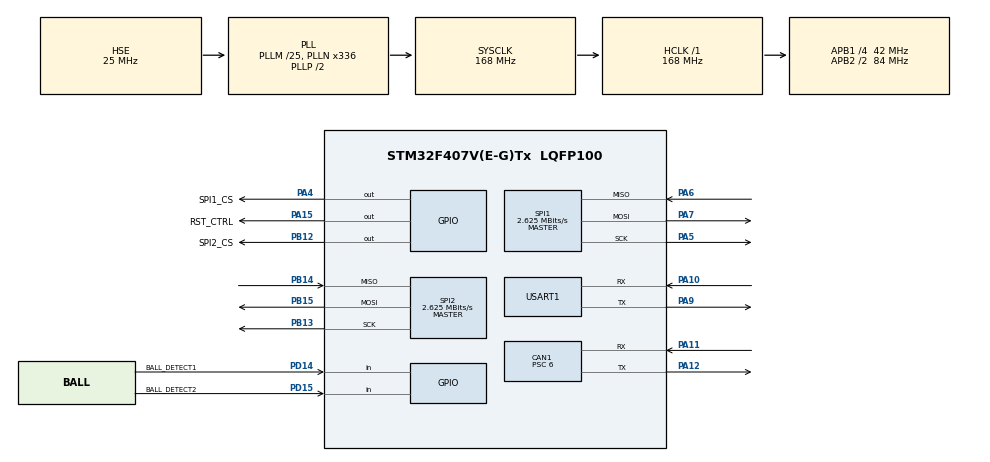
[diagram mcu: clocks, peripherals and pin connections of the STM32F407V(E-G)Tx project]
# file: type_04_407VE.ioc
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CAN1.BS1=CAN_BS1_11TQ
CAN1.BS2=CAN_BS2_2TQ
CAN1.CalculateBaudRate=500000
CAN1.CalculateTimeBit=2000
CAN1.CalculateTimeQuantum=142.85714285714286
CAN1.Prescaler=6
Dma.Request0=USART1_RX
Dma.Request1=USART1_TX
Dma.USART1_RX.0.Direction=DMA_PERIPH_TO_MEMORY
Dma.USART1_RX.0.FIFOMode=DMA_FIFOMODE_DISABLE
Dma.USART1_RX.0.Instance=DMA2_Stream2
Dma.USART1_RX.0.MemDataAlignment=DMA_MDATAALIGN_BYTE
Dma.USART1_RX.0.MemInc=DMA_MINC_ENABLE
Dma.USART1_RX.0.Mode=DMA_NORMAL
Dma.USART1_RX.0.PeriphDataAlignment=DMA_PDATAALIGN_BYTE
Dma.USART1_RX.0.PeriphInc=DMA_PINC_DISABLE
Dma.USART1_RX.0.Priority=DMA_PRIORITY_VERY_HIGH
Dma.USART1_TX.1.Direction=DMA_MEMORY_TO_PERIPH
Dma.USART1_TX.1.FIFOMode=DMA_FIFOMODE_DISABLE
Dma.USART1_TX.1.Instance=DMA2_Stream7
Dma.USART1_TX.1.MemDataAlignment=DMA_MDATAALIGN_BYTE
Dma.USART1_TX.1.MemInc=DMA_MINC_ENABLE
Dma.USART1_TX.1.Mode=DMA_NORMAL
Dma.USART1_TX.1.PeriphDataAlignment=DMA_PDATAALIGN_BYTE
Dma.USART1_TX.1.PeriphInc=DMA_PINC_DISABLE
Dma.USART1_TX.1.Priority=DMA_PRIORITY_MEDIUM
Mcu.Family=STM32F4
Mcu.Name=STM32F407V(E-G)Tx
Mcu.Package=LQFP100
NVIC.CAN1_RX0_IRQn=true\:1\:0\:true\:false\:true\:true\:true\:true
NVIC.CAN1_TX_IRQn=true\:1\:0\:true\:false\:true\:true\:true\:true
NVIC.DMA2_Stream2_IRQn=true\:0\:0\:false\:false\:true\:false\:true\:true
NVIC.DMA2_Stream7_IRQn=true\:0\:0\:false\:false\:true\:false\:true\:true
NVIC.PriorityGroup=NVIC_PRIORITYGROUP_4
NVIC.TIM1_TRG_COM_TIM11_IRQn=true\:3\:0\:true\:false\:true\:true\:true\:true
NVIC.TIM8_TRG_COM_TIM14_IRQn=true\:3\:0\:true\:false\:true\:true\:true\:true
NVIC.TIM8_UP_TIM13_IRQn=true\:3\:0\:true\:false\:true\:true\:true\:true
NVIC.USART1_IRQn=true\:0\:0\:false\:false\:true\:true\:true\:true
PA10.Mode=Asynchronous
PA10.Signal=USART1_RX
PA11.Mode=CAN_Activate
PA11.Signal=CAN1_RX
PA12.Mode=CAN_Activate
PA12.Signal=CAN1_TX
PA13.Mode=Serial_Wire
PA13.Signal=SYS_JTMS-SWDIO
PA14.Mode=Serial_Wire
PA14.Signal=SYS_JTCK-SWCLK
PA15.GPIO_Label=RST_CTRL
PA15.GPIO_PuPd=GPIO_PULLDOWN
PA15.Signal=GPIO_Output
PA4.GPIO_Label=SPI1_CS
PA4.Signal=GPIO_Output
PA5.Mode=Full_Duplex_Master
PA5.Signal=SPI1_SCK
PA6.Mode=Full_Duplex_Master
PA6.Signal=SPI1_MISO
PA7.Mode=Full_Duplex_Master
PA7.Signal=SPI1_MOSI
PA9.Mode=Asynchronous
PA9.Signal=USART1_TX
PB12.GPIO_Label=SPI2_CS
PB12.Signal=GPIO_Output
PB13.Mode=Full_Duplex_Master
PB13.Signal=SPI2_SCK
PB14.Mode=Full_Duplex_Master
PB14.Signal=SPI2_MISO
PB15.Mode=Full_Duplex_Master
PB15.Signal=SPI2_MOSI
PD14.GPIO_Label=BALL_DETECT1
PD14.GPIO_PuPd=GPIO_PULLDOWN
PD14.Signal=GPIO_Input
PD15.GPIO_Label=BALL_DETECT2
PD15.GPIO_PuPd=GPIO_PULLDOWN
PD15.Signal=GPIO_Input
PH0-OSC_IN.Mode=HSE-External-Oscillator
PH0-OSC_IN.Signal=RCC_OSC_IN
PH1-OSC_OUT.Mode=HSE-External-Oscillator
PH1-OSC_OUT.Signal=RCC_OSC_OUT
ProjectManager.HeapSize=0x200
ProjectManager.StackSize=0x400
ProjectManager.TargetToolchain=MDK-ARM V5.32
RCC.48MHZClocksFreq_Value=84000000
RCC.AHBFreq_Value=168000000
RCC.APB1CLKDivider=RCC_HCLK_DIV4
RCC.APB1Freq_Value=42000000
RCC.APB1TimFreq_Value=84000000
RCC.APB2CLKDivider=RCC_HCLK_DIV2
RCC.APB2Freq_Value=84000000
RCC.APB2TimFreq_Value=168000000
RCC.CortexFreq_Value=168000000
RCC.HCLKFreq_Value=168000000
RCC.HSE_VALUE=25000000
RCC.HSI_VALUE=16000000
RCC.LSE_VALUE=32768
RCC.PLLM=25
RCC.PLLN=336
RCC.PLLSourceVirtual=RCC_PLLSOURCE_HSE
RCC.SYSCLKFreq_VALUE=168000000
RCC.SYSCLKSource=RCC_SYSCLKSOURCE_PLLCLK
RCC.VCOOutputFreq_Value=336000000
SPI1.BaudRatePrescaler=SPI_BAUDRATEPRESCALER_32
SPI1.CLKPhase=SPI_PHASE_2EDGE
SPI1.CalculateBaudRate=2.625 MBits/s
SPI1.DataSize=SPI_DATASIZE_16BIT
SPI1.Direction=SPI_DIRECTION_2LINES
SPI1.Mode=SPI_MODE_MASTER
SPI1.VirtualType=VM_MASTER
SPI2.BaudRatePrescaler=SPI_BAUDRATEPRESCALER_16
SPI2.CLKPhase=SPI_PHASE_2EDGE
SPI2.CalculateBaudRate=2.625 MBits/s
SPI2.DataSize=SPI_DATASIZE_16BIT
SPI2.Direction=SPI_DIRECTION_2LINES
SPI2.Mode=SPI_MODE_MASTER
SPI2.VirtualType=VM_MASTER
STMicroelectronics.X-CUBE-ALGOBUILD.1.3.0.LibraryCcDSPOoLibraryJjDSPOoLibrary=true
TIM11.Period=100-1
TIM11.Prescaler=84-1
TIM13.Period=5000-1
TIM13.Prescaler=168-1
TIM14.Period=10000-1
TIM14.Prescaler=84-1
USART1.Parity=PARITY_NONE
USART1.VirtualMode=VM_ASYNC
USART1.WordLength=WORDLENGTH_8B
VP_STMicroelectronics.X-CUBE-ALGOBUILD_VS_DSPOoLibraryJjLibrary_1.3.0_1.3.0.Mode=DSPOoLibraryJjLibrary
VP_TIM11_VS_ClockSourceINT.Mode=Enable_Timer
VP_TIM13_VS_ClockSourceINT.Mode=Enable_Timer
VP_TIM14_VS_ClockSourceINT.Mode=Enable_Timer
board=custom

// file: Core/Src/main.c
/* USER CODE BEGIN Header */
/**
  ******************************************************************************
  * @file           : main.c
  * @brief          : Main program body
  ******************************************************************************
  * @attention
  *
  * Copyright (c) 2023 STMicroelectronics.
  * All rights reserved.
  *
  * This software is licensed under terms that can be found in the LICENSE file
  * in the root directory of this software component.
  * If no LICENSE file comes with this software, it is provided AS-IS.
  *
  ******************************************************************************
  */
/* USER CODE END Header */

#include "main.h"
#include "gpio.h"
#include "dma.h"
#include "can.h"
#include "spi.h"
#include "tim.h"
#include "usart.h"

/* USER CODE BEGIN Includes */
#include "YIS130.h"
#include "arm_math.h"
#include "stdio.h"
#include "AS5048.h"
#include "odom_protocol.h"
#include <math.h>
#include <string.h>

extern CAN_HandleTypeDef hcan1;
extern SPI_HandleTypeDef hspi1;
extern SPI_HandleTypeDef hspi2;
extern TIM_HandleTypeDef htim11;
extern TIM_HandleTypeDef htim13;
extern TIM_HandleTypeDef htim14;
extern UART_HandleTypeDef huart1;

void MX_GPIO_Init(void);
void MX_DMA_Init(void);
void MX_CAN1_Init(void);
void MX_TIM11_Init(void);
void MX_TIM13_Init(void);
void MX_TIM14_Init(void);
void MX_USART1_UART_Init(void);
void MX_SPI1_Init(void);
void MX_SPI2_Init(void);

/* USER CODE END Includes */

/* USER CODE BEGIN PTD */
#define USART_CR3_RXFTIE ((uint32_t)0x00008000)

/* USER CODE END PTD */

/* USER CODE BEGIN PD */

uint8_t receive_buff[8] = {0}; // init
int receivefactor[2];
// header x_low x_high y y yaw yaw footer
uint8_t tx_buff[255];

extern MPU_DATA mpu_data[4];
extern AS5048 AS5048s[AS5048_NUMBER];
float i = 0;
extern float ACCX,ACCY,ACCZ;
//float tt_x = 0;
//float tt_y = 0;
//float tt_x_real = 0;
//float tt_y_real = 0;

int add = 0;
int times = 0;

int fputc(int ch, FILE *f){
        //HAL_UART_Transmit_DMA(&huart1, (uint8_t *)&ch, 1);
  HAL_UART_Transmit(&huart1, (uint8_t *)&ch, 1, 0xffff);
  return ch;
}

typedef struct struct_message
{
  uint8_t header;
  uint8_t parity;
  uint8_t data[6];
  uint8_t footer;
} DataPacket;

DataPacket DataRe;
uint8_t USART_FLAG = 0;

uint8_t USART1_RX_BUF[100];
uint16_t USART1_RX_STA = 0;
uint8_t aRxBuffer1[1];
UART_HandleTypeDef UART1_Handler;
/* USER CODE END PD */

/* USER CODE BEGIN PV */
/* RX 缓冲扩大到 64 字节以兼容旧 8 字节协议 + 新 0xAA 0x55 上行帧 (最长 25 字节) */
#define RCV_BUF_SIZE 64
uint8_t rcv_buf[RCV_BUF_SIZE] = {0};
volatile uint16_t rcv_len = 0;   /* 实际收到字节数, 由 idle 中断记录 */
int rcv_err = 3;
char mpu_buff[220];
uint16_t rxclear = 0;
volatile uint8_t rcv_flag = 0;
int rst_temp = 0;

/* ODOM protocol variables */
static uint8_t odom_seq = 0;
static uint8_t odom_frame_buf[2][ODOM_STATE_FRAME_LEN];
static uint8_t odom_frame_buf_index = 0;
static uint32_t odom_tx_drop_count = 0;
/* 上行响应使用独立缓冲, 避免与下行 ODOM_STATE 共用 */
static uint8_t odom_resp_buf[ODOM_TIME_SYNC_RESP_FRAME_LEN];
/* 累计成功归零次数 (event_counter) */
static uint32_t origin_event_counter = 0;
static float odom_dx_world_acc = 0.0f;
static float odom_dy_world_acc = 0.0f;
static float odom_dyaw_acc = 0.0f;
static float odom_local_yaw_offset_rad = 0.0f;
static uint16_t odom_vel_ticks = 0;
static volatile uint8_t encoder_sample_pending = 0;
static volatile uint8_t encoder_delta_ready = 0;
static uint16_t encoder_sample_divider = 0;
static float encoder_odom_last_yaw_rad = 0.0f;
static uint8_t encoder_odom_yaw_initialized = 0;
static volatile int encoder_delta_x_counts = 0;
static volatile int encoder_delta_y_counts = 0;
static volatile uint8_t encoder_delta_valid_mask = 0U;
static volatile uint8_t encoder_latest_valid_mask = 0U;

/* ODOM output rate: ticks between frames (ISR=20kHz, 100 ticks=5ms=200Hz) */
#define ODOM_OUTPUT_TICKS 100
/* Encoder SPI sampling rate: 20kHz / 20 = 1kHz */
#define ODOM_ENCODER_SAMPLE_TICKS 20U
/* ISR period in microseconds */
#define ODOM_ISR_PERIOD_US 50
#define ODOM_PI_F 3.1415926f
#define DEG_TO_RAD_F (3.1415926f / 180.0f)
#define ODOM_RESP_TX_NONE 0U
#define ODOM_RESP_TX_WAITING 1U
#define ODOM_RESP_TX_SENDING 2U
#define ODOM_ENCODER_X_VALID_MASK 0x01U
#define ODOM_ENCODER_Y_VALID_MASK 0x02U
#define ODOM_ENCODER_VALID_ALL (ODOM_ENCODER_X_VALID_MASK | ODOM_ENCODER_Y_VALID_MASK)

typedef struct {
        int x_counts;
        int y_counts;
        uint8_t valid_mask;
} EncoderDeltaSample_t;

static volatile uint8_t odom_resp_tx_state = ODOM_RESP_TX_NONE;

/* USER CODE END PV */

void SystemClock_Config(void);
/* USER CODE BEGIN PFP */
static void service_encoder_sampling(void);

/* USER CODE END PFP */

int main(void)
{

  /* MCU Configuration--------------------------------------------------------*/

  /* Reset of all peripherals, Initializes the Flash interface and the Systick. */
  HAL_Init();

  /* Configure the system clock */
  SystemClock_Config();

  /* Initialize all configured peripherals */
  MX_GPIO_Init();
  MX_DMA_Init();
  MX_CAN1_Init();
  MX_TIM11_Init();
  MX_TIM13_Init();
  MX_TIM14_Init();
  MX_USART1_UART_Init();
  MX_SPI1_Init();
  MX_SPI2_Init();
  /* USER CODE BEGIN 2 */

        __HAL_UART_ENABLE_IT(&huart1, UART_IT_IDLE);
        HAL_UART_Receive_DMA(&huart1, rcv_buf, RCV_BUF_SIZE);

        AS5048_init(1,&hspi1,GPIOA,GPIO_PIN_4);
        AS5048_init(2,&hspi2,GPIOB,GPIO_PIN_12);

        mpu_data[0].cali = 1;
        mpu_data[0].vel[0] = 0;
        mpu_data[0].vel[1] = 0;
        mpu_data[0].REAL_YAW_SET = 0;
        mpu_data[0].REAL_YAW_MARK = 0;

        can_filter_init();

        HAL_TIM_Base_Start_IT(&htim13);
        HAL_TIM_Base_Start_IT(&htim14);
        HAL_TIM_Base_Start_IT(&htim11);

//      SelfCalibration();

//      HAL_Delay(100);

//  mpu_data[0].PITCH_ANGLE_BEG = mpu_data[0].PITCH_ANGLE;
//  mpu_data[0].YAW_ANGLE_BEG =   mpu_data[0].YAW_ANGLE;
//  mpu_data[0].ROLL_ANGLE_BEG =  mpu_data[0].ROLL_ANGLE;
//
  /* USER CODE END 2 */

  /* Infinite loop */
        while (1)
  {

    /* USER CODE BEGIN 3 */
                service_encoder_sampling();
                if(rcv_flag != 0U){
                        Rcv_DealData();
                }

  }
  /* USER CODE END 3 */
}

void SystemClock_Config(void)
{
  RCC_OscInitTypeDef RCC_OscInitStruct = {0};
  RCC_ClkInitTypeDef RCC_ClkInitStruct = {0};

  /** Configure the main internal regulator output voltage
  */
  __HAL_RCC_PWR_CLK_ENABLE();
  __HAL_PWR_VOLTAGESCALING_CONFIG(PWR_REGULATOR_VOLTAGE_SCALE1);

  /** Initializes the RCC Oscillators according to the specified parameters
  * in the RCC_OscInitTypeDef structure.
  */
  RCC_OscInitStruct.OscillatorType = RCC_OSCILLATORTYPE_HSE;
  RCC_OscInitStruct.HSEState = RCC_HSE_ON;
  RCC_OscInitStruct.PLL.PLLState = RCC_PLL_ON;
  RCC_OscInitStruct.PLL.PLLSource = RCC_PLLSOURCE_HSE;
  RCC_OscInitStruct.PLL.PLLM = 25;
  RCC_OscInitStruct.PLL.PLLN = 336;
  RCC_OscInitStruct.PLL.PLLP = RCC_PLLP_DIV2;
  RCC_OscInitStruct.PLL.PLLQ = 4;
  if (HAL_RCC_OscConfig(&RCC_OscInitStruct) != HAL_OK)
  {
    Error_Handler();
  }

  /** Initializes the CPU, AHB and APB buses clocks
  */
  RCC_ClkInitStruct.ClockType = RCC_CLOCKTYPE_HCLK|RCC_CLOCKTYPE_SYSCLK
                              |RCC_CLOCKTYPE_PCLK1|RCC_CLOCKTYPE_PCLK2;
  RCC_ClkInitStruct.SYSCLKSource = RCC_SYSCLKSOURCE_PLLCLK;
  RCC_ClkInitStruct.AHBCLKDivider = RCC_SYSCLK_DIV1;
  RCC_ClkInitStruct.APB1CLKDivider = RCC_HCLK_DIV4;
  RCC_ClkInitStruct.APB2CLKDivider = RCC_HCLK_DIV2;

  if (HAL_RCC_ClockConfig(&RCC_ClkInitStruct, FLASH_LATENCY_5) != HAL_OK)
  {
    Error_Handler();
  }
}

/* USER CODE BEGIN 4 */

//DMA+空闲中断接收
void Rcv_IdleCallback(void){
        /* 判断是否为空闲中断 */
        if(__HAL_UART_GET_FLAG(&huart1, UART_FLAG_IDLE) == SET){
                /* 清除空闲中断标志并停止 DMA */
                __HAL_UART_CLEAR_IDLEFLAG(&huart1);
                HAL_UART_DMAStop(&huart1);
                /* 计算实际接收字节数 = 缓冲总长 - 剩余 NDTR */
                uint16_t remaining = (uint16_t)__HAL_DMA_GET_COUNTER(huart1.hdmarx);
                rcv_len = (remaining > RCV_BUF_SIZE) ? 0 : (uint16_t)(RCV_BUF_SIZE - remaining);
                /* 标记收到一帧 */
                rcv_flag = 1;
        }
}

/* 等待上一次串口 TX (DMA 或阻塞) 完成, 然后用 DMA 发送响应帧。*/
static void send_upstream_response(const uint8_t *buf, uint16_t len)
{
        uint32_t start_ms = HAL_GetTick();

        odom_resp_tx_state = ODOM_RESP_TX_WAITING;
        while(huart1.gState != HAL_UART_STATE_READY){
                if((uint32_t)(HAL_GetTick() - start_ms) > 10U){
                        odom_resp_tx_state = ODOM_RESP_TX_NONE;
                        odom_tx_drop_count++;
                        return;
                }
        }
        if(HAL_UART_Transmit_DMA(&huart1, (uint8_t *)buf, len) == HAL_OK){
                odom_resp_tx_state = ODOM_RESP_TX_SENDING;
        }else{
                odom_resp_tx_state = ODOM_RESP_TX_NONE;
                odom_tx_drop_count++;
        }
}

static void send_odom_state_payload(const OdomStatePayload_t *payload)
{
        uint8_t *frame_buf;
        uint16_t frame_len;

        if(odom_resp_tx_state != ODOM_RESP_TX_NONE){
                odom_tx_drop_count++;
                return;
        }

        if(huart1.gState != HAL_UART_STATE_READY){
                odom_tx_drop_count++;
                return;
        }

        frame_buf = odom_frame_buf[odom_frame_buf_index];
        frame_len = odom_pack_state(frame_buf, odom_seq, payload);
        if(HAL_UART_Transmit_DMA(&huart1, frame_buf, frame_len) == HAL_OK){
                odom_seq++;
                odom_frame_buf_index ^= 1U;
        }else{
                odom_tx_drop_count++;
        }
}

static void request_encoder_sample_from_isr(void)
{
        encoder_sample_divider++;
        if(encoder_sample_divider >= ODOM_ENCODER_SAMPLE_TICKS){
                encoder_sample_divider = 0;
                if(encoder_sample_pending < 0xFFU){
                        encoder_sample_pending++;
                }
        }
}

static uint8_t take_encoder_sample_request(void)
{
        uint8_t do_sample = 0U;

        __disable_irq();
        if(encoder_sample_pending != 0U){
                encoder_sample_pending--;
                do_sample = 1U;
        }
        __enable_irq();

        return do_sample;
}

static void service_encoder_sampling(void)
{
        uint8_t valid_mask = 0U;
        uint32_t primask;

        if(encoder_delta_ready != 0U){
                return;
        }
        if(take_encoder_sample_request() == 0U){
                return;
        }

        AS5048_getREGValue(1);
        AS5048_dataUpdate(1);
        AS5048_getREGValue(2);
        AS5048_dataUpdate(2);

        if(AS5048s[ODOM_X_ENCODER_INDEX].valid != 0U){
                valid_mask |= ODOM_ENCODER_X_VALID_MASK;
        }
        if(AS5048s[ODOM_Y_ENCODER_INDEX].valid != 0U){
                valid_mask |= ODOM_ENCODER_Y_VALID_MASK;
        }

        primask = __get_PRIMASK();
        __disable_irq();
        encoder_delta_x_counts = AS5048s[ODOM_X_ENCODER_INDEX].delta_dis;
        encoder_delta_y_counts = AS5048s[ODOM_Y_ENCODER_INDEX].delta_dis;
        encoder_delta_valid_mask = valid_mask;
        encoder_latest_valid_mask = valid_mask;
        encoder_delta_ready = 1U;
        if(primask == 0U){
                __enable_irq();
        }
}

static uint8_t take_encoder_delta_ready(EncoderDeltaSample_t *sample)
{
        if(encoder_delta_ready == 0U || sample == 0){
                return 0U;
        }
        sample->x_counts = encoder_delta_x_counts;
        sample->y_counts = encoder_delta_y_counts;
        sample->valid_mask = encoder_delta_valid_mask;
        encoder_delta_ready = 0U;
        return 1U;
}

static float odom_wrap_pi(float angle)
{
        while(angle > ODOM_PI_F){
                angle -= 2.0f * ODOM_PI_F;
        }
        while(angle < -ODOM_PI_F){
                angle += 2.0f * ODOM_PI_F;
        }
        return angle;
}

static float odom_get_raw_yaw_rad(void)
{
        return mpu_data[0].YAW_ANGLE * DEG_TO_RAD_F;
}

static float odom_get_local_yaw_rad(void)
{
        return odom_wrap_pi(odom_get_raw_yaw_rad() + odom_local_yaw_offset_rad);
}

static void odom_set_local_yaw_origin(float local_yaw_rad)
{
        odom_local_yaw_offset_rad = odom_wrap_pi(local_yaw_rad - odom_get_raw_yaw_rad());
}

static void reset_encoder_odom_yaw_reference(void)
{
        encoder_odom_last_yaw_rad = odom_get_local_yaw_rad();
        encoder_odom_yaw_initialized = 1U;
}

static void integrate_orthogonal_encoder_delta(const EncoderDeltaSample_t *sample)
{
        /* Guard: Skip integration if encoders are not valid */
        if (sample->valid_mask != ODOM_ENCODER_VALID_ALL) {
                return;
        }

        float yaw_rad = odom_get_local_yaw_rad();
        float dyaw = 0.0f;
        float dx_wheel = (float)sample->x_counts
                       * ODOM_X_ENCODER_SIGN
                       * ODOM_X_WHEEL_METERS_PER_COUNT;
        float dy_wheel = (float)sample->y_counts
                       * ODOM_Y_ENCODER_SIGN
                       * ODOM_Y_WHEEL_METERS_PER_COUNT;

        if(encoder_odom_yaw_initialized == 0U){
                encoder_odom_last_yaw_rad = yaw_rad;
                encoder_odom_yaw_initialized = 1U;
        }else{
                dyaw = odom_wrap_pi(yaw_rad - encoder_odom_last_yaw_rad);
                encoder_odom_last_yaw_rad = yaw_rad;
        }

        /* Orthogonal encoder kinematic resolution (45° X-configuration)
         * Left wheel (dy_wheel/SPI2): 45° from +X axis, measures (forward + left) / √2
         * Right wheel (dx_wheel/SPI1): 135° from +X axis, measures (forward - left) / √2
         * Inverse kinematics:
         *   dx_body = (left - right) / √2 = (dy_wheel - dx_wheel) / √2
         *   dy_body = (left + right) / √2 = (dy_wheel + dx_wheel) / √2
         */
        const float INV_SQRT2 = 0.70710678118f;  // 1/sqrt(2)
        float dx_body_raw = (dy_wheel - dx_wheel) * INV_SQRT2;  // FIXED: was swapped
        float dy_body_raw = (dy_wheel + dx_wheel) * INV_SQRT2;  // FIXED: was swapped

        /* Rotation compensation for tracking wheels offset from robot center. */
        float dx_body = dx_body_raw + ODOM_X_WHEEL_Y_OFFSET_M * dyaw;
        float dy_body = dy_body_raw - ODOM_Y_WHEEL_X_OFFSET_M * dyaw;
        float cos_yaw = arm_cos_f32(yaw_rad);
        float sin_yaw = arm_sin_f32(yaw_rad);
        float dx_world = dx_body * cos_yaw - dy_body * sin_yaw;
        float dy_world = dx_body * sin_yaw + dy_body * cos_yaw;

        mpu_data[0].X_tt += dx_world;
        mpu_data[0].Y_tt += dy_world;
        mpu_data[0].REAL_X = mpu_data[0].X_tt;
        mpu_data[0].REAL_Y = mpu_data[0].Y_tt;

        odom_dx_world_acc += dx_world;
        odom_dy_world_acc += dy_world;
        odom_vel_ticks += ODOM_ENCODER_SAMPLE_TICKS;
}

static void reset_odom_runtime_accumulators(void)
{
        odom_dx_world_acc = 0.0f;
        odom_dy_world_acc = 0.0f;
        odom_dyaw_acc = 0.0f;
        odom_vel_ticks = 0;
        encoder_odom_yaw_initialized = 0U;
        mpu_data[0].vel[0] = 0.0;
        mpu_data[0].vel[1] = 0.0;
        mpu_data[0].vel[2] = 0.0;
}

static void reset_encoder_accumulators(void)
{
        int idx;
        uint32_t primask = __get_PRIMASK();

        __disable_irq();
        encoder_delta_ready = 0U;
        encoder_delta_x_counts = 0;
        encoder_delta_y_counts = 0;
        encoder_delta_valid_mask = 0U;
        encoder_latest_valid_mask = 0U;
        for(idx = 0; idx < AS5048_NUMBER; idx++){
                AS5048s[idx].total_angle = 0;
                AS5048s[idx].cirle = 0;
                AS5048s[idx].delta_dis = 0;
                AS5048s[idx].last_angle = AS5048s[idx].angle;
                AS5048s[idx].diff_hist[0] = 0;
                AS5048s[idx].diff_hist[1] = 0;
                AS5048s[idx].diff_hist[2] = 0;
                AS5048s[idx].motion_state = 0;
        }
        if(primask == 0U){
                __enable_irq();
        }
}

static uint8_t is_ball_present(void)
{
        if(HAL_GPIO_ReadPin(BALL_DETECT_GPIO_Port, BALL_DETECT1_Pin) == GPIO_PIN_SET){
                return 1U;
        }
        return (HAL_GPIO_ReadPin(BALL_DETECT_GPIO_Port, BALL_DETECT2_Pin) == GPIO_PIN_SET) ? 1U : 0U;
}

static uint64_t odom_get_isr_tick_snapshot(void)
{
        uint64_t tick;
        uint32_t primask = __get_PRIMASK();

        __disable_irq();
        tick = odom_isr_tick;
        if(primask == 0U){
                __enable_irq();
        }

        return tick;
}

void HAL_UART_TxCpltCallback(UART_HandleTypeDef *huart)
{
        if(huart == &huart1 && odom_resp_tx_state == ODOM_RESP_TX_SENDING){
                odom_resp_tx_state = ODOM_RESP_TX_NONE;
        }
}

/* 处理上位机发来的 0xAA 0x55 帧 */
static void handle_upstream_frame(const OdomUpstreamFrame_t *fr)
{
        if(fr->msg_type == ODOM_MSG_TIME_SYNC_REQ){
                if(fr->payload_len != ODOM_TIME_SYNC_REQ_PAYLOAD_LEN) return;
                /* 提取 echoed_host_time_us */
                uint64_t host_us = 0;
                for(int b = 0; b < 8; b++){
                        host_us |= ((uint64_t)fr->payload[b]) << (8 * b);
                }
                OdomTimeSyncRespPayload_t resp;
                resp.echoed_host_time_us = host_us;
                resp.mcu_time_us = odom_get_isr_tick_snapshot() * (uint64_t)ODOM_ISR_PERIOD_US;
                uint16_t flen = odom_pack_time_sync_resp(odom_resp_buf, fr->seq, &resp);
                send_upstream_response(odom_resp_buf, flen);
        } else if(fr->msg_type == ODOM_MSG_SET_LOCAL_ORIGIN){
                if(fr->payload_len != ODOM_SET_ORIGIN_PAYLOAD_LEN) return;
                /* payload: float x, y, yaw + uint8 flags + 3 reserved */
                float new_x, new_y, new_yaw;
                uint8_t flags;
                memcpy(&new_x,   &fr->payload[0],  4);
                memcpy(&new_y,   &fr->payload[4],  4);
                memcpy(&new_yaw, &fr->payload[8],  4);
                flags = fr->payload[12];
                if(flags == 0U){
                        flags = ODOM_SET_ORIGIN_FLAG_RESET_ALL; /* 兼容旧版上位机: 0 表示整包归零 */
                }

                if((flags & ODOM_SET_ORIGIN_FLAG_RESET_XY) != 0U){
                        /* 应用 XY 原点重置 */
                        mpu_data[0].X_tt = new_x;
                        mpu_data[0].Y_tt = new_y;
                        mpu_data[0].REAL_X = new_x;
                        mpu_data[0].REAL_Y = new_y;
                }

                if((flags & ODOM_SET_ORIGIN_FLAG_RESET_YAW) != 0U){
                        /* 重置连续 yaw: 让下次 unwrap 输出 = new_yaw, prev_deg 锚定到当前角度 */
                        odom_set_local_yaw_origin(new_yaw);
                        g_yaw_unwrap.continuous_rad = new_yaw;
                        g_yaw_unwrap.prev_deg       = mpu_data[0].YAW_ANGLE;
                        g_yaw_unwrap.initialized    = 1;
                }

                if((flags & ODOM_SET_ORIGIN_FLAG_RESET_ENCODER) != 0U){
                        reset_encoder_accumulators();
                }

                reset_odom_runtime_accumulators();
                origin_event_counter++;

                OdomSetLocalOriginAckPayload_t ack;
                ack.acked_seq     = (uint16_t)fr->seq;
                ack.result_code   = 0;
                ack.event_counter = origin_event_counter;
                uint16_t flen = odom_pack_set_origin_ack(odom_resp_buf, fr->seq, &ack);
                send_upstream_response(odom_resp_buf, flen);
        }
        /* 其它类型忽略 */
}

int Rcv_DealData(void){
        if(1==rcv_flag){
                uint16_t len = rcv_len;
                /* --- 1) 老协议: 8 字节固定包 --- */
                if(len >= 8 && 0x0F==rcv_buf[0] && 0xAA==rcv_buf[7]){
                        DATARELOAD(rcv_buf);
                }else if(len >= 8 && 0xBB==rcv_buf[0] && 0xCC==rcv_buf[7]){
                        HAL_GPIO_WritePin(RST_CTRL_GPIO_Port,RST_CTRL_Pin,GPIO_PIN_SET);
                        HAL_Delay(500);
                        HAL_GPIO_WritePin(RST_CTRL_GPIO_Port,RST_CTRL_Pin,GPIO_PIN_RESET);
                        DATARELOAD(rcv_buf);
                }else{
                        /* --- 2) 新协议: 0xAA 0x55 上行帧 --- */
                        OdomUpstreamFrame_t fr;
                        if(odom_parse_upstream(rcv_buf, len, &fr)){
                                handle_upstream_frame(&fr);
                        }
                }
                /* 清缓冲并重启 DMA */
                memset(rcv_buf, 0, RCV_BUF_SIZE);
                rcv_len  = 0;
                rcv_flag = 0;
                HAL_UART_Receive_DMA(&huart1, rcv_buf, RCV_BUF_SIZE);
                return 0;
        }else{
                return -1;
        }
}

void HAL_TIM_PeriodElapsedCallback(TIM_HandleTypeDef *htim)
{
    if (htim == (&htim14)){
                        //if(rcv_err>0){
      //ClearUARTErrors(USART1);//清除串口错误标志，目前不再使用
                        //}

    }

                if (htim == (&htim13)){
//                      arm_fir_f32_lp();

                 }

                 if (htim == (&htim11)){

	                         odom_isr_tick++;
	                         request_encoder_sample_from_isr();

                         if(mpu_data[0].cali == 1){
	                                        if(times >= 500){

	                                                add++;
	                                                EncoderDeltaSample_t encoder_delta = {0, 0, 0U};
	                                                uint8_t has_encoder_delta = take_encoder_delta_ready(&encoder_delta);
	                                                uint32_t imu_now_ms = HAL_GetTick();
	                                                uint8_t gyro_fresh = YIS130_IsGyroFresh(imu_now_ms);
	                                                uint8_t yaw_fresh = YIS130_IsEulerFresh(imu_now_ms);
	                                                uint8_t imu_fresh = YIS130_IsImuFresh(imu_now_ms);

	                                                mpu_data[0].REAL_YAW = mpu_data[0].YAW_ANGLE;

	            if(has_encoder_delta != 0U && yaw_fresh != 0U && encoder_delta.valid_mask == ODOM_ENCODER_VALID_ALL){
	                integrate_orthogonal_encoder_delta(&encoder_delta);
	            }
#if ODOM_BINARY_MODE
                                                if(add >= ODOM_OUTPUT_TICKS){
                                                        /* 连续 yaw (rad) */
                                                        float yaw_cont = g_yaw_unwrap.continuous_rad;
                                                        if(yaw_fresh != 0U){
                                                                yaw_cont = odom_yaw_unwrap(&g_yaw_unwrap, mpu_data[0].YAW_ANGLE);
                                                        }

                                                        /* 计算 body-frame 速度 */
                                                        float dt = (float)odom_vel_ticks * (float)ODOM_ISR_PERIOD_US * 1e-6f;
                                                        float vx_world = 0.0f, vy_world = 0.0f;
                                                        if(dt > 0.0f){
                                                            vx_world = odom_dx_world_acc / dt;
                                                            vy_world = odom_dy_world_acc / dt;
                                                        }
                                                        /* 旋转到 body frame */
                                                        float cos_yaw = arm_cos_f32(yaw_cont);
                                                        float sin_yaw = arm_sin_f32(yaw_cont);
                                                        float vx_body =  vx_world * cos_yaw + vy_world * sin_yaw;
                                                        float vy_body = -vx_world * sin_yaw + vy_world * cos_yaw;
                                                        float wz = (gyro_fresh != 0U) ? (mpu_data[0].gyro[2] * DEG_TO_RAD_F) : 0.0f; /* YIS130 gyro Z: deg/s -> rad/s */

                                                        /* 时间戳 */
                                                        uint64_t t_us = odom_isr_tick * (uint64_t)ODOM_ISR_PERIOD_US;

                                                        /* 状态位 */
                                                        uint8_t enc_valid = (encoder_latest_valid_mask == ODOM_ENCODER_VALID_ALL) ? 1U : 0U;
                                                        uint8_t pose_valid = (enc_valid != 0U && yaw_fresh != 0U) ? 1U : 0U;
                                                        uint16_t status = 0U;
                                                        uint8_t quality = ODOM_QUALITY_NORMAL;
                                                        if(imu_fresh != 0U){
                                                                status |= ODOM_STATUS_IMU_VALID;
                                                        }
                                                        if(yaw_fresh != 0U){
                                                                status |= ODOM_STATUS_YAW_VALID;
                                                        }
                                                        if(enc_valid != 0U){
                                                                status |= ODOM_STATUS_ENC_VALID;
                                                        }
                                                        if(pose_valid != 0U && imu_fresh != 0U){
                                                                status |= ODOM_STATUS_POS_VALID | ODOM_STATUS_VEL_VALID;
                                                        }else{
                                                                status |= ODOM_STATUS_DEGRADED;
                                                                quality = ODOM_QUALITY_DEGRADED;
                                                        }
                                                                                                                if(is_ball_present() != 0U){
                                                                                                                        status |= ODOM_STATUS_BALL_PRESENT;
                                                                                                                }

                                                        /* 打包 ODOM_STATE */
                                                        OdomStatePayload_t payload;
                                                        payload.t_sample_us = t_us;
                                                        payload.x = mpu_data[0].REAL_X;
                                                        payload.y = mpu_data[0].REAL_Y;
                                                        payload.yaw = yaw_cont;
                                                        payload.vx = vx_body;
                                                        payload.vy = vy_body;
                                                        payload.wz = wz;
                                                        payload.status_bits = status;
                                                        payload.quality = quality;
                                                        payload.reserved = 0;

                                                        send_odom_state_payload(&payload);

                                                        /* 重置累积器 */
                                                        odom_dx_world_acc = 0.0f;
                                                        odom_dy_world_acc = 0.0f;
                                                        odom_vel_ticks = 0;
                                                        add = 0;
                                                }
#else
                                                if(add >= 50){
                                                        float enc_left_total_m = -AS5048s[1].total_angle * AS5048_LEFT_METERS_PER_COUNT;
                                                        float enc_right_total_m = AS5048s[0].total_angle * AS5048_RIGHT_METERS_PER_COUNT;
                                                        float enc_avg_total_m = 0.5f * (enc_left_total_m + enc_right_total_m);
                                                        memset(mpu_buff, 0, sizeof(mpu_buff));
                                                        int mpu_len = snprintf(mpu_buff, sizeof(mpu_buff), "%f,%f,%f,%f,%f,%f,%f,%ld,%ld\r\n", mpu_data[0].REAL_X, mpu_data[0].REAL_Y, mpu_data[0].REAL_YAW, mpu_data[0].ROLL_ANGLE, enc_left_total_m, enc_right_total_m, enc_avg_total_m, (long)AS5048s[1].total_angle, (long)AS5048s[0].total_angle);
                                                        HAL_UART_Transmit_DMA(&huart1, (uint8_t *)&mpu_buff, mpu_len);
                                                        add = 0;
                                                }
#endif

	                                        }else{

	                                          EncoderDeltaSample_t encoder_delta = {0, 0, 0U};
	                                          if(take_encoder_delta_ready(&encoder_delta) != 0U
	                                             && encoder_delta.valid_mask == ODOM_ENCODER_VALID_ALL
	                                             && YIS130_IsEulerFresh(HAL_GetTick()) != 0U){
	                                                  reset_encoder_odom_yaw_reference();
	                                          }
	                                          mpu_data[0].vel[0] = 0;
	                                    mpu_data[0].vel[1] = 0;
	                                                times ++ ;
	                                        }

	                 }
                }
}

void ClearUARTErrors(USART_TypeDef *USARTx) {
    // 清除奇偶校验错误
    if (USARTx->SR & USART_SR_PE) {
        (void)USARTx->DR;
    }
    // 清除帧错误
    if (USARTx->SR & USART_SR_FE) {
        (void)USARTx->DR;
    }
    // 清除噪声错误
    if (USARTx->SR & USART_SR_NE) {
        (void)USARTx->DR;
    }
    // 清除溢出错误
    if (USARTx->SR & USART_SR_ORE) {
        (void)USARTx->DR;
    }
    // 重新使能串口
    USARTx->CR1 |= USART_CR1_UE;
    // 重新使能错误中断
    USARTx->CR3 |= USART_CR3_EIE;
    // 重新使能接收 FIFO 阈值中断
    USARTx->CR3 |= USART_CR3_RXFTIE;
                // 重新打开 DMA 接收
                HAL_UART_Receive_DMA(&huart1,rcv_buf,RCV_BUF_SIZE);
}

/* USER CODE END 4 */

void Error_Handler(void)
{
  __disable_irq();
  while (1)
  {
  }
}
